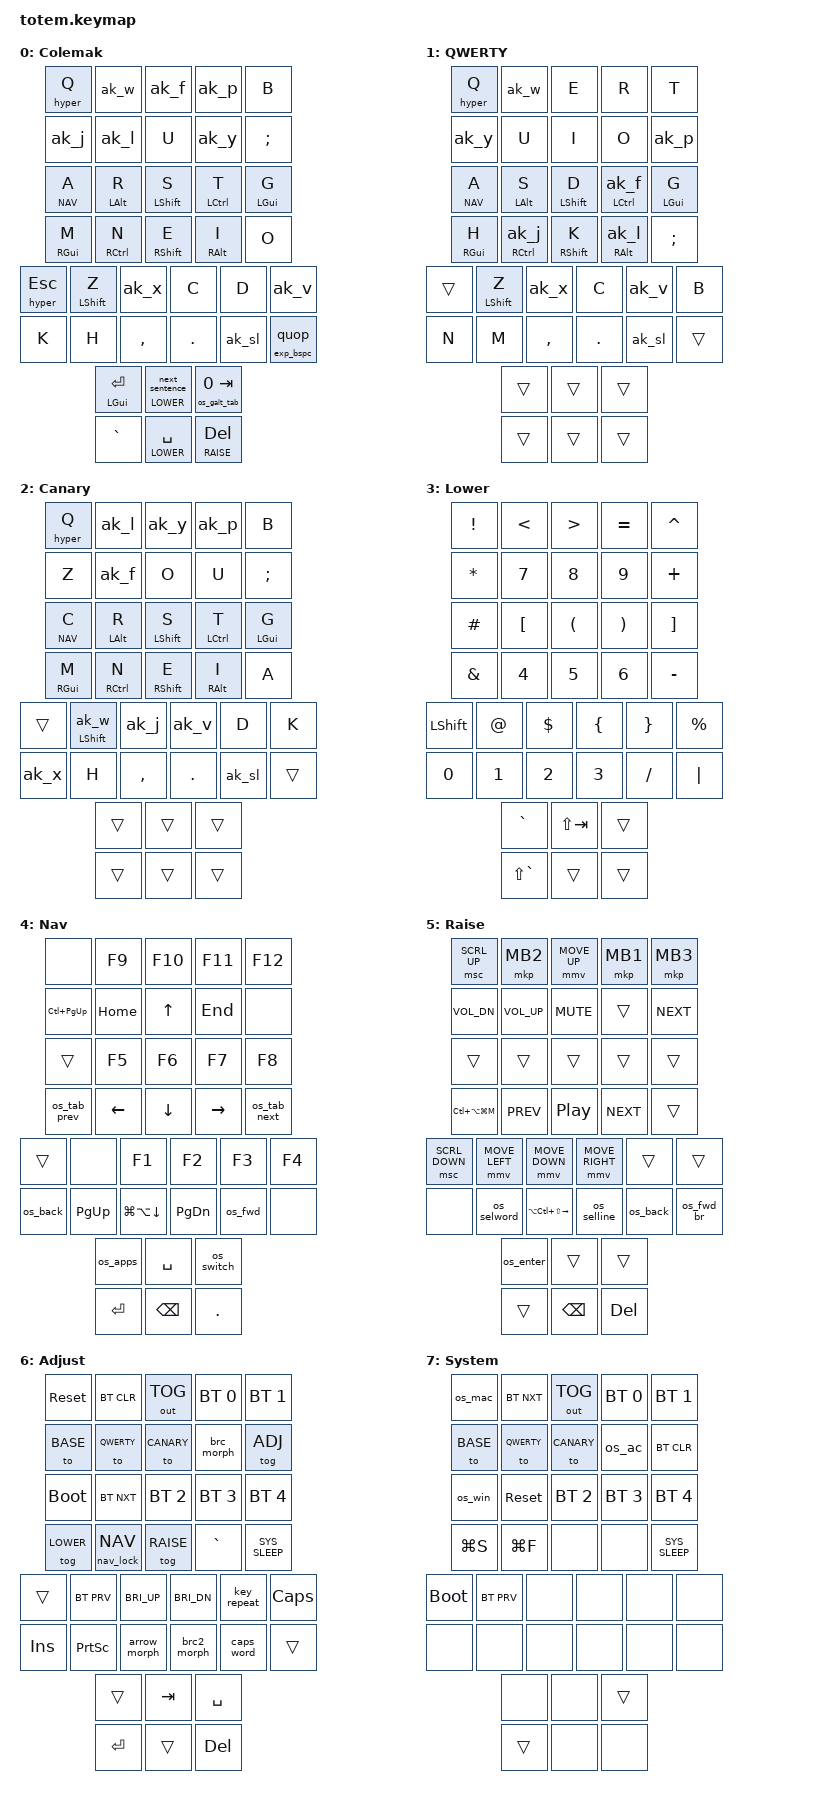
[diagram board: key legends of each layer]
/*
 * Totem keymap ported from Aric's Clickety Split Leeloo (Colemak-DH).
 *
 * Key index (this is the order of every bindings list):
 *
 *   0  1  2  3  4        5  6  7  8  9
 *  10 11 12 13 14       15 16 17 18 19
 *  20 21 22 23 24 25    26 27 28 29 30 31
 *        32 33 34       35 36 37
 *
 *  20 and 31 are the outer pinky keys. 32-34 are the left thumbs
 *  (outer, middle, inner). 35-37 are the right thumbs (inner, middle, outer).
 *
 * Adaptive keys live in adaptive.dtsi. OS mode, Quopostrokey, exponential
 * Backspace, latched Nav, and the System conditional layer live in os.dtsi.
 * Do not remove either include. The keymap editor keeps the includes and
 * the &ak_* / &os_* / &quop / &exp_bspc / &nav_lock bindings.
 * Mouse move, scroll, and clicks need dt-bindings/zmk/pointing.h. Do not
 * remove that include. The editor keeps it and the &mmv / &mkp / &msc
 * bindings.
 * See docs/adaptive-keys-analysis.md and the readme.
 */

#include <behaviors.dtsi>
#include <dt-bindings/zmk/keys.h>
#include <dt-bindings/zmk/bt.h>
#include <dt-bindings/zmk/outputs.h>
#include <dt-bindings/zmk/pointing.h>
#include <dt-bindings/zmk/modifiers.h>
#include "adaptive.dtsi"

#define BASE   0
#define QWERTY 1
#define CANARY 2
#define LOWER  3
#define NAV    4
#define RAISE  5
#define ADJ    6
#define SYS    7

#include "os.dtsi"

/* Layer thumbs: balanced, so a quick tap stays the letter/space/tab. */
&lt {
    flavor = "balanced";
    tapping-term-ms = <200>;
    quick-tap-ms = <120>;
};

/* Enter/Command thumb and Z/Shift. Same timing as the layer thumbs. */
&mt {
    flavor = "balanced";
    tapping-term-ms = <200>;
    quick-tap-ms = <120>;
};

/* One-shot shift matches the Leeloo ONESHOT_TIMEOUT of 1000 ms. */
&sk {
    release-after-ms = <1000>;
    quick-release;
};

&caps_word {
    continue-list = <UNDER MINUS BSPC DEL>;
};

/ {
    behaviors {
        /*
         * Positional home-row mods, urob timeless tuning.
         * Hold fires only with a key on the other hand, and only after the
         * hands have been idle, so same-hand rolls stay taps.
         * Left hand positions:  0-4 10-14 20-25 32-34
         * Right hand positions: 5-9 15-19 26-31 35-37
         */
        hrm_l: hrm_l {
            compatible = "zmk,behavior-hold-tap";
            label = "HRM_L";
            #binding-cells = <2>;
            flavor = "balanced";
            tapping-term-ms = <280>;
            quick-tap-ms = <175>;
            require-prior-idle-ms = <150>;
            hold-trigger-on-release;
            hold-trigger-key-positions = <5 6 7 8 9 15 16 17 18 19 26 27 28 29 30 31 35 36 37>;
            bindings = <&kp>, <&kp>;
        };

        hrm_r: hrm_r {
            compatible = "zmk,behavior-hold-tap";
            label = "HRM_R";
            #binding-cells = <2>;
            flavor = "balanced";
            tapping-term-ms = <280>;
            quick-tap-ms = <175>;
            require-prior-idle-ms = <150>;
            hold-trigger-on-release;
            hold-trigger-key-positions = <0 1 2 3 4 10 11 12 13 14 20 21 22 23 24 25 32 33 34>;
            bindings = <&kp>, <&kp>;
        };

        /*
         * Inner-column Cmd (Colemak G/M, QWERTY G/H, Canary G/M).
         * These letters are rolled constantly, including cross-hand rolls
         * such as "ng", so the prior-idle and tapping term are stricter
         * than the other home-row mods. A real Cmd chord needs a short
         * pause, then a hold with the other hand. Hold-trigger positions
         * stay the whole other hand: carving out roll partners would also
         * block real shortcuts on those keys, and the partners differ on
         * QWERTY and Canary.
         */
        hrm_in_l: hrm_in_l {
            compatible = "zmk,behavior-hold-tap";
            label = "HRM_IN_L";
            #binding-cells = <2>;
            flavor = "balanced";
            tapping-term-ms = <320>;
            quick-tap-ms = <200>;
            require-prior-idle-ms = <200>;
            hold-trigger-on-release;
            hold-trigger-key-positions = <5 6 7 8 9 15 16 17 18 19 26 27 28 29 30 31 35 36 37>;
            bindings = <&kp>, <&kp>;
        };

        hrm_in_r: hrm_in_r {
            compatible = "zmk,behavior-hold-tap";
            label = "HRM_IN_R";
            #binding-cells = <2>;
            flavor = "balanced";
            tapping-term-ms = <320>;
            quick-tap-ms = <200>;
            require-prior-idle-ms = <200>;
            hold-trigger-on-release;
            hold-trigger-key-positions = <0 1 2 3 4 10 11 12 13 14 20 21 22 23 24 25 32 33 34>;
            bindings = <&kp>, <&kp>;
        };

        /*
         * Left home pinky: tap the letter, hold Nav.
         * Same timing family as the home-row mods, but the layer turns on
         * when the other key is pressed, not when it is released, so an
         * arrow on the Nav layer can repeat while this key is held.
         * Hold-trigger is the right hand only, so a same-hand roll stays
         * the letter. Usage: &a_nav NAV A
         */
        a_nav: a_nav {
            compatible = "zmk,behavior-hold-tap";
            label = "A_NAV";
            #binding-cells = <2>;
            flavor = "balanced";
            tapping-term-ms = <280>;
            quick-tap-ms = <175>;
            require-prior-idle-ms = <150>;
            hold-trigger-key-positions = <5 6 7 8 9 15 16 17 18 19 26 27 28 29 30 31 35 36 37>;
            bindings = <&mo>, <&kp>;
        };

        /*
         * QWERTY puts F, J, and L on home-row-mod keys that are also adaptive.
         * Hold-taps always take two parameters. The 0 passed at the keymap
         * is unused: the tap behavior does not take a parameter.
         * Usage: &qw_f LCTRL 0
         */
        qw_f: qw_f {
            compatible = "zmk,behavior-hold-tap";
            label = "QW_F";
            #binding-cells = <2>;
            flavor = "balanced";
            tapping-term-ms = <280>;
            quick-tap-ms = <175>;
            require-prior-idle-ms = <150>;
            hold-trigger-on-release;
            hold-trigger-key-positions = <5 6 7 8 9 15 16 17 18 19 26 27 28 29 30 31 35 36 37>;
            bindings = <&kp>, <&ak_f>;
        };

        qw_j: qw_j {
            compatible = "zmk,behavior-hold-tap";
            label = "QW_J";
            #binding-cells = <2>;
            flavor = "balanced";
            tapping-term-ms = <280>;
            quick-tap-ms = <175>;
            require-prior-idle-ms = <150>;
            hold-trigger-on-release;
            hold-trigger-key-positions = <0 1 2 3 4 10 11 12 13 14 20 21 22 23 24 25 32 33 34>;
            bindings = <&kp>, <&ak_j>;
        };

        qw_l: qw_l {
            compatible = "zmk,behavior-hold-tap";
            label = "QW_L";
            #binding-cells = <2>;
            flavor = "balanced";
            tapping-term-ms = <280>;
            quick-tap-ms = <175>;
            require-prior-idle-ms = <150>;
            hold-trigger-on-release;
            hold-trigger-key-positions = <0 1 2 3 4 10 11 12 13 14 20 21 22 23 24 25 32 33 34>;
            bindings = <&kp>, <&ak_l>;
        };

        /*
         * Canary W sits on the Colemak Z key (position 21). The hold is
         * Shift, with the same timing as &mt. The tap is adaptive W.
         * The 0 is unused. Usage: &mt_w LSHFT 0
         */
        mt_w: mt_w {
            compatible = "zmk,behavior-hold-tap";
            label = "MT_W";
            #binding-cells = <2>;
            flavor = "balanced";
            tapping-term-ms = <200>;
            quick-tap-ms = <120>;
            bindings = <&kp>, <&ak_w>;
        };

        /*
         * Hyper hold-tap. tap-preferred: a tap shorter than the tapping term
         * is always the tap key, even if another key overlaps. Hyper is
         * Ctrl+Shift+Alt+Gui. The 0 is unused because Hyper takes no
         * parameter. Left pinky is &eh 0 ESC. Q is &eh 0 Q.
         */
        eh: esc_hyper {
            compatible = "zmk,behavior-hold-tap";
            label = "ESC_HYPER";
            #binding-cells = <2>;
            flavor = "tap-preferred";
            tapping-term-ms = <200>;
            require-prior-idle-ms = <150>;
            bindings = <&hyper>, <&kp>;
        };

        /*
         * Right outer pinky. Tap is Quopostrokey (&quop): apostrophe after
         * a letter, otherwise "" and Left. Hold is exponential Backspace
         * (&exp_bspc): one delete immediately, then an accelerating repeat
         * that stops on release. Tap-preferred, 200 ms, no prior-idle, so
         * a short tap stays the quote while typing and a hold is reachable.
         * Both children take no parameter. The 0s fill the hold-tap slots.
         * Usage: &apos_bspc 0 0
         */
        apos_bspc: apos_bspc {
            compatible = "zmk,behavior-hold-tap";
            label = "APOS_BSPC";
            #binding-cells = <2>;
            flavor = "tap-preferred";
            tapping-term-ms = <200>;
            bindings = <&exp_bspc>, <&quop>;
        };

        /*
         * Left middle thumb. Tap is next sentence (&next_sentence): period,
         * space, one-shot Shift. Hold is Lower. Balanced, 200 ms, 120 ms
         * quick-tap, the same timing as &lt. &mo takes the layer.
         * &next_sentence takes no parameter, so the second cell is unused.
         * Usage: &ns_lower LOWER 0
         */
        ns_lower: ns_lower {
            compatible = "zmk,behavior-hold-tap";
            label = "NS_LOWER";
            #binding-cells = <2>;
            flavor = "balanced";
            tapping-term-ms = <200>;
            quick-tap-ms = <120>;
            bindings = <&mo>, <&next_sentence>;
        };

        brc_morph: brc_morph {
            compatible = "zmk,behavior-mod-morph";
            label = "BRACES";
            #binding-cells = <0>;
            bindings = <&braces>, <&braces_ang>;
            mods = <(MOD_LSFT|MOD_RSFT)>;
        };

        brc2_morph: brc2_morph {
            compatible = "zmk,behavior-mod-morph";
            label = "BRACES2";
            #binding-cells = <0>;
            bindings = <&braces2>, <&braces2_curly>;
            mods = <(MOD_LSFT|MOD_RSFT)>;
        };

        arrow_morph: arrow_morph {
            compatible = "zmk,behavior-mod-morph";
            label = "ARROW";
            #binding-cells = <0>;
            bindings = <&arrow>, <&arrow_shift>;
            mods = <(MOD_LSFT|MOD_RSFT)>;
        };
    };

    macros {
        hyper: hyper {
            label = "HYPER";
            compatible = "zmk,behavior-macro";
            #binding-cells = <0>;
            wait-ms = <0>;
            tap-ms = <1>;
            bindings
                = <&macro_press &kp LCTRL &kp LSHIFT &kp LALT &kp LGUI>
                , <&macro_pause_for_release>
                , <&macro_release &kp LCTRL &kp LSHIFT &kp LALT &kp LGUI>
                ;
        };

        braces: braces {
            label = "PARENS";
            compatible = "zmk,behavior-macro";
            #binding-cells = <0>;
            wait-ms = <0>;
            tap-ms = <8>;
            bindings
                = <&macro_release &kp LSHFT &kp RSHFT>
                , <&macro_tap &kp LPAR &kp RPAR &kp LEFT>
                ;
        };

        braces_ang: braces_ang {
            label = "ANGLES";
            compatible = "zmk,behavior-macro";
            #binding-cells = <0>;
            wait-ms = <0>;
            tap-ms = <8>;
            bindings
                = <&macro_release &kp LSHFT &kp RSHFT>
                , <&macro_tap &kp LT &kp GT &kp LEFT>
                ;
        };

        braces2: braces2 {
            label = "BRACKETS";
            compatible = "zmk,behavior-macro";
            #binding-cells = <0>;
            wait-ms = <0>;
            tap-ms = <8>;
            bindings
                = <&macro_release &kp LSHFT &kp RSHFT>
                , <&macro_tap &kp LBKT &kp RBKT &kp LEFT>
                ;
        };

        braces2_curly: braces2_curly {
            label = "CURLIES";
            compatible = "zmk,behavior-macro";
            #binding-cells = <0>;
            wait-ms = <0>;
            tap-ms = <8>;
            bindings
                = <&macro_release &kp LSHFT &kp RSHFT>
                , <&macro_tap &kp LBRC &kp RBRC &kp LEFT>
                ;
        };

        arrow: arrow {
            label = "ARROW";
            compatible = "zmk,behavior-macro";
            #binding-cells = <0>;
            wait-ms = <0>;
            tap-ms = <8>;
            bindings
                = <&macro_release &kp LSHFT &kp RSHFT>
                , <&macro_tap &kp LPAR &kp RPAR &kp SPACE &kp EQUAL &kp GT &kp SPACE>
                , <&macro_tap &kp LEFT &kp LEFT &kp LEFT &kp LEFT &kp LEFT>
                ;
        };

        arrow_shift: arrow_shift {
            label = "ARROW_SHIFT";
            compatible = "zmk,behavior-macro";
            #binding-cells = <0>;
            wait-ms = <0>;
            tap-ms = <5>;
            bindings
                = <&macro_release &kp LSHFT &kp RSHFT>
                , <&macro_tap &kp C &kp O &kp N &kp S &kp T &kp SPACE &kp Y &kp O>
                , <&macro_tap &kp U &kp R &kp LS(F) &kp U &kp N &kp C &kp LS(V) &kp A>
                , <&macro_tap &kp R &kp I &kp A &kp B &kp L &kp E &kp SPACE &kp EQUAL>
                , <&macro_tap &kp SPACE &kp LPAR &kp X &kp COMMA &kp Y &kp RPAR &kp SPACE &kp EQUAL>
                , <&macro_tap &kp GT &kp SPACE &kp X &kp SPACE &kp PLUS &kp SPACE &kp Y &kp DOT>
                , <&macro_tap &kp M &kp E &kp T &kp H &kp O &kp D &kp SEMI>
                , <&macro_tap &kp LEFT &kp LEFT &kp LEFT &kp LEFT &kp LEFT &kp LEFT &kp LEFT &kp LEFT>
                , <&macro_tap &kp LEFT &kp LEFT &kp LEFT &kp LEFT &kp LEFT &kp LEFT &kp LEFT &kp LEFT>
                , <&macro_tap &kp LEFT &kp LEFT &kp LEFT &kp LEFT &kp LEFT &kp LEFT &kp LEFT &kp LEFT>
                , <&macro_tap &kp LEFT>
                , <&macro_tap &kp LA(LS(LEFT))>
                ;
        };

        /*
         * Getreuer next sentence: period, space, then one-shot Shift.
         * &sk is pressed and released by the macro. Release starts the
         * sticky timer (1000 ms, quick-release), so the next letter is
         * capitalized and Shift drops after that letter.
         */
        next_sentence: next_sentence {
            label = "NEXT_SENTENCE";
            compatible = "zmk,behavior-macro";
            #binding-cells = <0>;
            wait-ms = <0>;
            tap-ms = <5>;
            bindings = <&macro_tap &kp DOT &kp SPACE &sk LSHFT>;
        };

        console_log: console_log {
            label = "CONSOLE_LOG";
            compatible = "zmk,behavior-macro";
            #binding-cells = <0>;
            wait-ms = <0>;
            tap-ms = <5>;
            bindings
                = <&macro_tap &kp C &kp O &kp N &kp S &kp O &kp L &kp E &kp DOT>
                , <&macro_tap &kp L &kp O &kp G &kp LPAR &kp SQT &kp SQT &kp RPAR>
                , <&macro_tap &kp LEFT &kp LEFT &kp LEFT &kp LEFT &kp LEFT &kp LEFT &kp LEFT &kp LEFT>
                ;
        };

        html_div: html_div {
            label = "HTML_DIV";
            compatible = "zmk,behavior-macro";
            #binding-cells = <0>;
            wait-ms = <0>;
            tap-ms = <5>;
            bindings
                = <&macro_tap &kp LT &kp D &kp I &kp V &kp GT &kp LT &kp FSLH &kp D>
                , <&macro_tap &kp I &kp V &kp GT>
                , <&macro_tap &kp LEFT &kp LEFT &kp LEFT &kp LEFT &kp LEFT &kp LEFT>
                ;
        };

        html_body: html_body {
            label = "HTML_BODY";
            compatible = "zmk,behavior-macro";
            #binding-cells = <0>;
            wait-ms = <0>;
            tap-ms = <5>;
            bindings
                = <&macro_tap &kp LT &kp B &kp O &kp D &kp Y &kp GT &kp LT &kp FSLH>
                , <&macro_tap &kp B &kp O &kp D &kp Y &kp GT>
                , <&macro_tap &kp LEFT &kp LEFT &kp LEFT &kp LEFT &kp LEFT &kp LEFT &kp LEFT>
                ;
        };

    };

    combos {
        compatible = "zmk,combos";

        combo_undo {
            timeout-ms = <50>;
            layers = <BASE QWERTY CANARY>;
            key-positions = <1 2>;
            bindings = <&kp LG(Z)>;
        };
        combo_redo {
            timeout-ms = <50>;
            layers = <BASE QWERTY CANARY>;
            key-positions = <2 3>;
            bindings = <&os_redo>;
        };
        combo_cut {
            timeout-ms = <50>;
            layers = <BASE QWERTY CANARY>;
            key-positions = <21 22>;
            bindings = <&kp LG(X)>;
        };
        combo_copy {
            timeout-ms = <50>;
            layers = <BASE QWERTY CANARY>;
            key-positions = <22 23>;
            bindings = <&kp LG(C)>;
        };
        combo_paste {
            timeout-ms = <50>;
            layers = <BASE QWERTY CANARY>;
            key-positions = <23 24>;
            bindings = <&kp LG(V)>;
        };
        combo_paste_clip {
            timeout-ms = <50>;
            layers = <BASE QWERTY CANARY>;
            key-positions = <22 24>;
            bindings = <&os_clip>;
        };
        combo_paste_txt {
            timeout-ms = <50>;
            layers = <BASE QWERTY CANARY>;
            key-positions = <21 24>;
            bindings = <&kp LG(LS(V))>;
        };
        combo_select_all {
            timeout-ms = <50>;
            layers = <BASE QWERTY CANARY>;
            key-positions = <21 25>;
            bindings = <&kp LG(A)>;
        };
        combo_question {
            timeout-ms = <50>;
            layers = <BASE QWERTY CANARY>;
            key-positions = <29 30>;
            bindings = <&kp QMARK>;
        };
        combo_underscore {
            timeout-ms = <50>;
            layers = <BASE QWERTY CANARY>;
            key-positions = <28 29>;
            bindings = <&kp UNDER>;
        };
        combo_dash {
            timeout-ms = <50>;
            layers = <BASE QWERTY CANARY>;
            key-positions = <7 8>;
            bindings = <&kp MINUS>;
        };
        /*
         * Colemak Y + semicolon (positions 8 and 9). U+Y stays dash above
         * (positions 7 and 8); this chord does not include U. &kp holds
         * Backspace while both keys are down, so the host key-repeat
         * keeps deleting. Release either key and it stops.
         */
        combo_bspc {
            timeout-ms = <50>;
            layers = <BASE QWERTY CANARY>;
            key-positions = <8 9>;
            bindings = <&kp BSPC>;
        };
        combo_equal {
            timeout-ms = <50>;
            layers = <BASE QWERTY CANARY>;
            key-positions = <17 18>;
            bindings = <&kp EQUAL>;
        };
        combo_at {
            timeout-ms = <50>;
            layers = <BASE QWERTY CANARY>;
            key-positions = <13 14>;
            bindings = <&kp AT>;
        };
        combo_dquote {
            timeout-ms = <50>;
            layers = <BASE QWERTY CANARY>;
            key-positions = <27 28>;
            bindings = <&kp DQT>;
        };
        combo_squote {
            timeout-ms = <50>;
            layers = <BASE QWERTY CANARY>;
            key-positions = <18 19>;
            bindings = <&kp SQT>;
        };
        combo_caps_word {
            timeout-ms = <50>;
            layers = <BASE QWERTY CANARY>;
            key-positions = <12 17>;
            bindings = <&caps_word>;
        };
        /*
         * Sticky Nav on the right top row (index, middle, ring). Omitting
         * layers leaves the combo mask at 0, which ZMK treats as every layer.
         * &nav_lock marks the layer latched so the left LED slow-blinks.
         * The pinky hold is momentary and does not.
         */
        combo_nav_sticky {
            timeout-ms = <70>;
            key-positions = <6 7 8>;
            bindings = <&nav_lock NAV>;
        };

        combo_console {
            timeout-ms = <50>;
            layers = <BASE QWERTY CANARY>;
            key-positions = <27 29>;
            bindings = <&console_log>;
        };
        combo_html_div {
            timeout-ms = <50>;
            layers = <BASE QWERTY CANARY>;
            key-positions = <24 29>;
            bindings = <&html_div>;
        };
        combo_html_body {
            timeout-ms = <50>;
            layers = <BASE QWERTY CANARY>;
            key-positions = <11 29>;
            bindings = <&html_body>;
        };

        combo_term_open {
            timeout-ms = <50>;
            layers = <LOWER>;
            key-positions = <6 8>;
            bindings = <&kp LC(GRAVE)>;
        };
        combo_term_next {
            timeout-ms = <50>;
            layers = <LOWER>;
            key-positions = <6 7>;
            bindings = <&kp LS(LG(LBKT))>;
        };
        combo_term_prev {
            timeout-ms = <50>;
            layers = <LOWER>;
            key-positions = <7 8>;
            bindings = <&kp LS(LG(RBKT))>;
        };
    };

    keymap {
        compatible = "zmk,keymap";

        base_layer {
            label = "Colemak";
            bindings = <
                &eh 0 Q      &ak_w          &ak_f          &ak_p          &kp B
                &ak_j        &ak_l          &kp U          &ak_y          &kp SEMI
                &a_nav NAV A  &hrm_l LALT R  &hrm_l LSHFT S  &hrm_l LCTRL T  &hrm_in_l LGUI G
                &hrm_in_r RGUI M  &hrm_r RCTRL N  &hrm_r RSHFT E  &hrm_r RALT I  &kp O
                &eh 0 ESC  &mt LSHFT Z  &ak_x  &kp C  &kp D  &ak_v
                &kp K  &kp H  &kp COMMA  &kp DOT  &ak_sl  &apos_bspc 0 0
                &mt LGUI ENTER  &ns_lower LOWER 0  &os_galt_tab 0 TAB
                &kp GRAVE  &lt LOWER SPACE  &lt RAISE DEL
            >;
        };

        qwerty_layer {
            label = "QWERTY";
            bindings = <
                &eh 0 Q  &ak_w  &kp E  &kp R  &kp T
                &ak_y  &kp U  &kp I  &kp O  &ak_p
                &a_nav NAV A  &hrm_l LALT S  &hrm_l LSHFT D  &qw_f LCTRL 0  &hrm_in_l LGUI G
                &hrm_in_r RGUI H  &qw_j RCTRL 0  &hrm_r RSHFT K  &qw_l RALT 0  &kp SEMI
                &trans  &mt LSHFT Z  &ak_x  &kp C  &ak_v  &kp B
                &kp N  &kp M  &kp COMMA  &kp DOT  &ak_sl  &trans
                &trans  &trans  &trans
                &trans  &trans  &trans
            >;
        };

        canary_layer {
            label = "Canary";
            bindings = <
                &eh 0 Q  &ak_l  &ak_y  &ak_p  &kp B
                &kp Z  &ak_f  &kp O  &kp U  &kp SEMI
                &a_nav NAV C  &hrm_l LALT R  &hrm_l LSHFT S  &hrm_l LCTRL T  &hrm_in_l LGUI G
                &hrm_in_r RGUI M  &hrm_r RCTRL N  &hrm_r RSHFT E  &hrm_r RALT I  &kp A
                &trans  &mt_w LSHFT 0  &ak_j  &ak_v  &kp D  &kp K
                &ak_x  &kp H  &kp COMMA  &kp DOT  &ak_sl  &trans
                &trans  &trans  &trans
                &trans  &trans  &trans
            >;
        };

        /*
         * Leeloo Lower, folded onto the Totem. Left symbols keep Leeloo's
         * inner-column order. Grave, Shift-Tab, and plain Shift are the
         * far-left Leeloo column (outer thumb, middle thumb, outer pinky).
         * Right hand is the Leeloo numpad. + and - sit on the outer column
         * where the markup put them. / is where &ak_0 was. | is the pinky.
         * 0 sits where ~ was, beside 1. ~ is the inner right thumb.
         * The other right thumbs are transparent. Next sentence is the
         * base left middle thumb, not this layer.
         */
        lower_layer {
            label = "Lower";
            bindings = <
                &kp EXCL  &kp LT  &kp GT  &kp EQUAL  &kp CARET
                &kp STAR  &kp N7  &kp N8  &kp N9  &kp PLUS
                &kp HASH  &kp LBKT  &kp LPAR  &kp RPAR  &kp RBKT
                &kp AMPS  &kp N4  &kp N5  &kp N6  &kp MINUS
                &kp LSHFT  &kp AT  &kp DLLR  &kp LBRC  &kp RBRC  &kp PRCNT
                &kp N0  &kp N1  &kp N2  &kp N3  &kp FSLH  &kp PIPE
                &kp GRAVE  &kp LS(TAB)  &trans
                &kp LS(GRAVE)  &trans  &trans
            >;
        };

        /*
         * F9–F12 and F5–F8 are the four inner columns. F1–F4 sit one key
         * to the right of that, so the key beside the outer pinky is blank.
         * The home pinky stays transparent (the Nav hold). Apps, Space, and
         * Switch are the left thumbs. The outer right thumb is period.
         */
        nav_layer {
            label = "Nav";
            bindings = <
                &none  &kp F9  &kp F10  &kp F11  &kp F12
                &kp LC(PG_UP)  &kp HOME  &kp UP  &kp END  &none
                &trans  &kp F5  &kp F6  &kp F7  &kp F8
                &os_tab_prev  &kp LEFT  &kp DOWN  &kp RIGHT  &os_tab_next
                &trans  &none  &kp F1  &kp F2  &kp F3  &kp F4
                &os_back  &kp PG_UP  &kp LG(LA(DOWN))  &kp PG_DN  &os_fwd  &none
                &os_apps  &kp SPACE  &os_switch
                &kp RET  &kp BSPC  &kp DOT
            >;
        };

        /*
         * Left hand is the old Num mouse block. Right hand is volume and
         * media on the Colemak letters: J vol-, L vol+, U speaker mute,
         * Y transparent, M mic mute, N previous. Play stays on E, where
         * it already was. Next stays off J/L/U/M/N. The outer left thumb
         * is Cmd+Enter / Ctrl+Enter.
         */
        raise_layer {
            label = "Raise";
            bindings = <
                &msc SCRL_UP  &mkp MB2  &mmv MOVE_UP  &mkp MB1  &mkp MB3
                &kp C_VOL_DN  &kp C_VOL_UP  &kp C_MUTE  &trans  &kp C_NEXT
                &trans  &trans  &trans  &trans  &trans
                &kp LC(LA(LG(M)))  &kp C_PREV  &kp C_PP  &kp C_NEXT  &trans
                &msc SCRL_DOWN  &mmv MOVE_LEFT  &mmv MOVE_DOWN  &mmv MOVE_RIGHT  &trans  &trans
                &none  &os_selword  &kp LA(LC(LS(RIGHT)))  &os_selline  &os_back  &os_fwd_br
                &os_enter  &trans  &trans
                &trans  &kp BSPC  &kp DEL
            >;
        };

        adjust_layer {
            label = "Adjust";
            bindings = <
                &sys_reset  &bt BT_CLR  &out OUT_TOG  &bt BT_SEL 0  &bt BT_SEL 1
                &to BASE  &to QWERTY  &to CANARY  &brc_morph  &tog ADJ
                &bootloader  &bt BT_NXT  &bt BT_SEL 2  &bt BT_SEL 3  &bt BT_SEL 4
                &tog LOWER  &nav_lock NAV  &tog RAISE  &kp GRAVE  &kp SYS_SLEEP
                &trans  &bt BT_PRV  &kp C_BRI_UP  &kp C_BRI_DN  &key_repeat  &kp CAPS
                &kp INS  &kp PSCRN  &arrow_morph  &brc2_morph  &caps_word  &trans
                &trans  &kp TAB  &kp SPACE
                &kp RET  &trans  &kp DEL
            >;
        };

        /*
         * On while Lower and Raise are both held. Lower is the middle thumb
         * on either hand. Raise is the outer right thumb. Nothing else
         * turns System on. Mac is the left top key, Win is the home key
         * under it, and the bootloader is the left outer pinky. Next
         * profile takes the slot Win left. Previous is the bottom key
         * under reset. The right top row still switches the alpha layout.
         */
        sys_layer {
            label = "System";
            bindings = <
                &os_mac  &bt BT_NXT  &out OUT_TOG  &bt BT_SEL 0  &bt BT_SEL 1
                &to BASE  &to QWERTY  &to CANARY  &os_ac  &bt BT_CLR
                &os_win  &sys_reset  &bt BT_SEL 2  &bt BT_SEL 3  &bt BT_SEL 4
                &kp LG(S)  &kp LG(F)  &none  &none  &kp SYS_SLEEP
                &bootloader  &bt BT_PRV  &none  &none  &none  &none
                &none  &none  &none  &none  &none  &none
                &none  &none  &trans
                &trans  &none  &none
            >;
        };
    };
};
